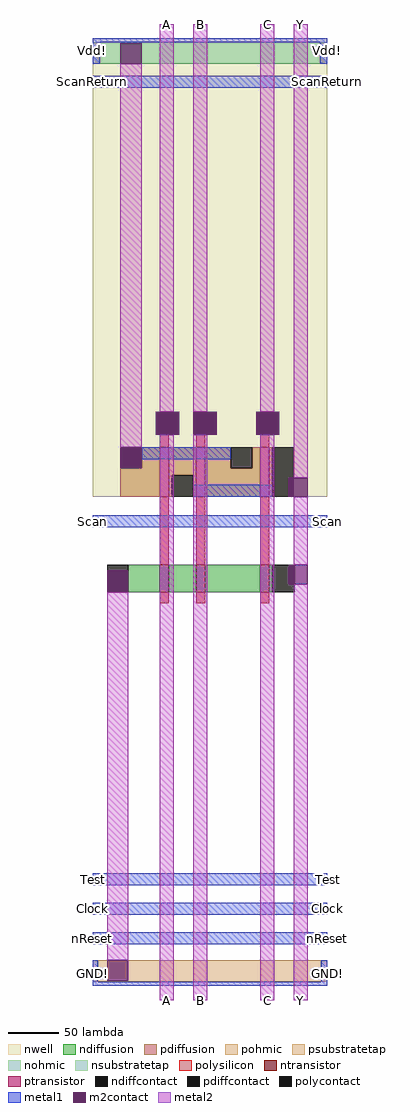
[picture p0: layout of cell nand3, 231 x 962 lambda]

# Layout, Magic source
magic
tech tsmc180
<< nwell >>
rect 0 496 231 948
<< polysilicon >>
rect 66 545 75 557
rect 102 545 111 557
rect 165 545 174 557
rect 66 429 75 496
rect 102 429 111 496
rect 165 429 174 496
rect 66 391 75 402
rect 102 391 111 402
rect 165 391 174 402
<< ndiffusion >>
rect 35 402 66 429
rect 75 402 102 429
rect 111 402 165 429
rect 174 402 177 429
<< pdiffusion >>
rect 48 524 66 545
rect 27 496 66 524
rect 75 517 102 545
rect 75 496 78 517
rect 99 496 102 517
rect 111 524 136 545
rect 157 524 165 545
rect 111 496 165 524
rect 174 496 177 545
<< pohmic >>
rect 0 18 5 39
rect 225 18 231 39
<< nohmic >>
rect 0 923 7 944
rect 224 923 231 944
<< ntransistor >>
rect 66 402 75 429
rect 102 402 111 429
rect 165 402 174 429
<< ptransistor >>
rect 66 496 75 545
rect 102 496 111 545
rect 165 496 174 545
<< polycontact >>
rect 62 557 85 580
rect 99 557 122 580
rect 161 557 184 580
<< ndiffcontact >>
rect 14 402 35 429
rect 177 402 199 429
<< pdiffcontact >>
rect 27 524 48 545
rect 78 496 99 517
rect 136 524 157 545
rect 177 496 198 545
<< psubstratetap >>
rect 5 18 225 39
<< nsubstratetap >>
rect 7 923 224 944
<< metal1 >>
rect 0 944 231 948
rect 0 923 7 944
rect 224 923 231 944
rect 0 899 231 911
rect 48 533 136 545
rect 99 496 177 508
rect 0 466 231 478
rect 0 113 231 125
rect 0 84 231 96
rect 0 55 231 67
rect 0 18 5 39
rect 225 18 231 39
rect 0 14 231 18
<< m2contact >>
rect 27 923 48 943
rect 62 557 85 580
rect 99 557 122 580
rect 161 557 184 580
rect 27 524 48 545
rect 193 496 198 515
rect 198 496 212 515
rect 14 402 35 423
rect 193 410 199 429
rect 199 410 212 429
rect 14 19 35 39
<< metal2 >>
rect 27 545 48 923
rect 66 580 80 962
rect 99 580 113 962
rect 165 580 179 962
rect 14 39 35 402
rect 66 0 80 557
rect 99 0 113 557
rect 165 0 179 557
rect 198 515 212 962
rect 198 429 212 496
rect 198 0 212 410
<< labels >>
rlabel metal1 0 14 0 39 3 GND!
rlabel metal1 0 55 0 67 3 nReset
rlabel metal1 0 84 0 96 3 Clock
rlabel metal1 0 113 0 125 3 Test
rlabel metal1 0 923 0 948 3 Vdd!
rlabel metal1 231 923 231 948 7 Vdd!
rlabel metal1 231 899 231 911 7 ScanReturn
rlabel metal1 231 55 231 67 7 nReset
rlabel metal1 231 84 231 96 7 Clock
rlabel metal1 231 113 231 125 7 Test
rlabel metal1 231 14 231 39 7 GND!
rlabel metal1 231 466 231 478 7 Scan
rlabel metal1 0 899 0 911 3 ScanReturn
rlabel metal1 0 466 0 478 3 Scan
rlabel metal2 66 0 80 0 1 A
rlabel metal2 99 0 113 0 1 B
rlabel metal2 165 0 179 0 1 C
rlabel metal2 198 0 212 0 1 Y
rlabel metal2 66 962 80 962 5 A
rlabel metal2 99 962 113 962 5 B
rlabel metal2 165 962 179 962 5 C
rlabel metal2 198 962 212 962 5 Y
<< end >>
